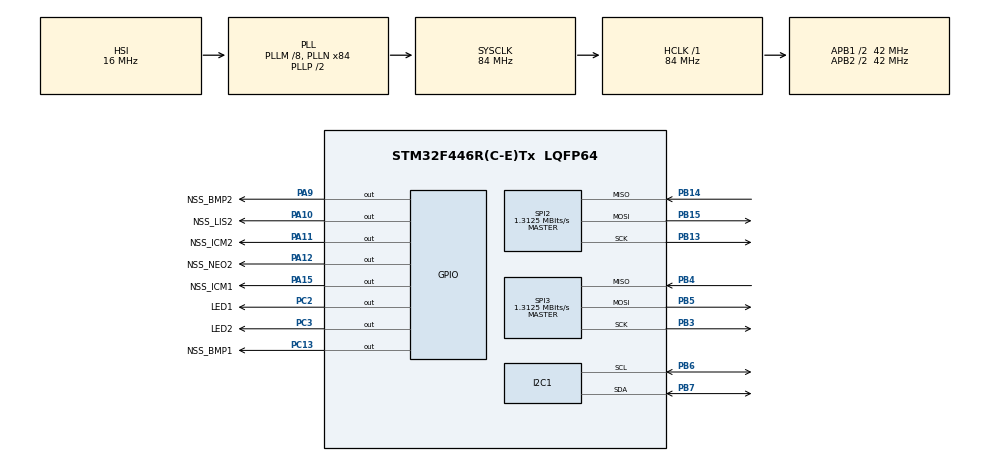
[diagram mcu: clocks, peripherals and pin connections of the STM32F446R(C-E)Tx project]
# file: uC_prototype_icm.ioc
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I2C1.I2C_Mode=I2C_Fast
Mcu.Family=STM32F4
Mcu.Name=STM32F446R(C-E)Tx
Mcu.Package=LQFP64
NVIC.PriorityGroup=NVIC_PRIORITYGROUP_4
PA10.GPIO_Label=NSS_LIS2
PA10.Signal=GPIO_Output
PA11.GPIO_Label=NSS_ICM2
PA11.Signal=GPIO_Output
PA12.GPIO_Label=NSS_NEO2
PA12.Signal=GPIO_Output
PA13.Mode=Serial_Wire
PA13.Signal=SYS_JTMS-SWDIO
PA14.Mode=Serial_Wire
PA14.Signal=SYS_JTCK-SWCLK
PA15.GPIO_Label=NSS_ICM1
PA15.Signal=GPIO_Output
PA9.GPIO_Label=NSS_BMP2
PA9.Signal=GPIO_Output
PB13.Mode=Full_Duplex_Master
PB13.Signal=SPI2_SCK
PB14.Mode=Full_Duplex_Master
PB14.Signal=SPI2_MISO
PB15.Mode=Full_Duplex_Master
PB15.Signal=SPI2_MOSI
PB3.Mode=Full_Duplex_Master
PB3.Signal=SPI3_SCK
PB4.Mode=Full_Duplex_Master
PB4.Signal=SPI3_MISO
PB5.Mode=Full_Duplex_Master
PB5.Signal=SPI3_MOSI
PB6.Mode=I2C
PB6.Signal=I2C1_SCL
PB7.Mode=I2C
PB7.Signal=I2C1_SDA
PC13.GPIO_Label=NSS_BMP1
PC13.Signal=GPIO_Output
PC14-OSC32_IN.Mode=LSE-External-Clock-Source
PC14-OSC32_IN.Signal=RCC_OSC32_IN
PC15-OSC32_OUT.Mode=LSE-External-Clock-Source
PC15-OSC32_OUT.Signal=RCC_OSC32_OUT
PC2.GPIO_Label=LED1
PC2.Signal=GPIO_Output
PC3.GPIO_Label=LED2
PC3.Signal=GPIO_Output
PH0-OSC_IN.Mode=HSE-External-Clock-Source
PH0-OSC_IN.Signal=RCC_OSC_IN
PH1-OSC_OUT.Mode=HSE-External-Clock-Source
PH1-OSC_OUT.Signal=RCC_OSC_OUT
ProjectManager.HeapSize=0x200
ProjectManager.StackSize=0x400
ProjectManager.TargetToolchain=TrueSTUDIO
RCC.AHBFreq_Value=84000000
RCC.APB1CLKDivider=RCC_HCLK_DIV2
RCC.APB1Freq_Value=42000000
RCC.APB1TimFreq_Value=84000000
RCC.APB2CLKDivider=RCC_HCLK_DIV2
RCC.APB2Freq_Value=42000000
RCC.APB2TimFreq_Value=84000000
RCC.CortexFreq_Value=84000000
RCC.HCLKFreq_Value=84000000
RCC.PLLM=8
RCC.PLLN=84
RCC.SYSCLKFreq_VALUE=84000000
RCC.SYSCLKSource=RCC_SYSCLKSOURCE_PLLCLK
RCC.USBFreq_Value=84000000
RCC.VCOOutputFreq_Value=168000000
SPI2.BaudRatePrescaler=SPI_BAUDRATEPRESCALER_32
SPI2.CalculateBaudRate=1.3125 MBits/s
SPI2.Direction=SPI_DIRECTION_2LINES
SPI2.Mode=SPI_MODE_MASTER
SPI2.VirtualType=VM_MASTER
SPI3.BaudRatePrescaler=SPI_BAUDRATEPRESCALER_32
SPI3.CalculateBaudRate=1.3125 MBits/s
SPI3.Direction=SPI_DIRECTION_2LINES
SPI3.Mode=SPI_MODE_MASTER
SPI3.VirtualType=VM_MASTER
board=custom

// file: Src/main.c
/* USER CODE BEGIN Header */
/**
  ******************************************************************************
  * @file           : main.c
  * @brief          : Main program body
  ******************************************************************************
  ** This notice applies to any and all portions of this file
  * that are not between comment pairs USER CODE BEGIN and
  * USER CODE END. Other portions of this file, whether
  * inserted by the user or by software development tools
  * are owned by their respective copyright owners.
  *
  * COPYRIGHT(c) 2019 STMicroelectronics
  *
  * Redistribution and use in source and binary forms, with or without modification,
  * are permitted provided that the following conditions are met:
  *   1. Redistributions of source code must retain the above copyright notice,
  *      this list of conditions and the following disclaimer.
  *   2. Redistributions in binary form must reproduce the above copyright notice,
  *      this list of conditions and the following disclaimer in the documentation
  *      and/or other materials provided with the distribution.
  *   3. Neither the name of STMicroelectronics nor the names of its contributors
  *      may be used to endorse or promote products derived from this software
  *      without specific prior written permission.
  *
  * THIS SOFTWARE IS PROVIDED BY THE COPYRIGHT HOLDERS AND CONTRIBUTORS "AS IS"
  * AND ANY EXPRESS OR IMPLIED WARRANTIES, INCLUDING, BUT NOT LIMITED TO, THE
  * IMPLIED WARRANTIES OF MERCHANTABILITY AND FITNESS FOR A PARTICULAR PURPOSE ARE
  * DISCLAIMED. IN NO EVENT SHALL THE COPYRIGHT HOLDER OR CONTRIBUTORS BE LIABLE
  * FOR ANY DIRECT, INDIRECT, INCIDENTAL, SPECIAL, EXEMPLARY, OR CONSEQUENTIAL
  * DAMAGES (INCLUDING, BUT NOT LIMITED TO, PROCUREMENT OF SUBSTITUTE GOODS OR
  * SERVICES; LOSS OF USE, DATA, OR PROFITS; OR BUSINESS INTERRUPTION) HOWEVER
  * CAUSED AND ON ANY THEORY OF LIABILITY, WHETHER IN CONTRACT, STRICT LIABILITY,
  * OR TORT (INCLUDING NEGLIGENCE OR OTHERWISE) ARISING IN ANY WAY OUT OF THE USE
  * OF THIS SOFTWARE, EVEN IF ADVISED OF THE POSSIBILITY OF SUCH DAMAGE.
  *
  ******************************************************************************
  */
/* USER CODE END Header */

#include "main.h"

I2C_HandleTypeDef hi2c1;

SPI_HandleTypeDef hspi2;
SPI_HandleTypeDef hspi3;

void SystemClock_Config(void);
static void MX_GPIO_Init(void);
static void MX_I2C1_Init(void);
static void MX_SPI3_Init(void);
static void MX_SPI2_Init(void);

/* USER CODE BEGIN 0 */

//Fct to write a byte and test if the writing has been successful
uint32_t write8(uint8_t registerAdress, uint8_t command, GPIO_TypeDef *GPIO_Port, uint16_t Pin, SPI_HandleTypeDef *hspiN)
{
	uint16_t Size = 2;
	uint8_t dataWrite[2] = {0,0};
	dataWrite[0] = registerAdress;
	dataWrite[1] = command;
	HAL_GPIO_WritePin(GPIO_Port, Pin, GPIO_PIN_RESET);
	HAL_SPI_Transmit(hspiN, &dataWrite, Size, 10);
	HAL_GPIO_WritePin(GPIO_Port, Pin, GPIO_PIN_SET);

//	TESTING IF WRITING WAS SUCCESSFUL
	uint32_t test = 0;
	uint8_t dataRead = 0;
	read8(registerAdress, &dataRead, GPIO_Port, Pin, hspiN);
	if(dataRead == command){test=1;}
	return test;
}

//Fct to read a byte at the corresponding register adress
void read8(uint8_t registerAdress, uint8_t *data, GPIO_TypeDef *GPIO_Port, uint16_t Pin, SPI_HandleTypeDef *hspiN)
{
	uint16_t Size = 2;
	uint8_t dataRead[2] = {0,0};
	dataRead[0] = registerAdress | 0x80; //for a read command MSB should be 1
	HAL_GPIO_WritePin(GPIO_Port, Pin, GPIO_PIN_RESET); //HAL_GPIO_WritePin(GPIO_Port, Pin, GPIO_PIN_RESET);NSS_ICM_GPIO_Port, NSS_ICM_Pin, GPIO_PIN_RESET
	HAL_SPI_Receive(hspiN, &dataRead, Size, 10);
	HAL_GPIO_WritePin(GPIO_Port, Pin, GPIO_PIN_SET); //HAL_GPIO_WritePin(GPIO_Port, Pin, GPIO_PIN_SET);NSS_ICM_GPIO_Port, NSS_ICM_Pin, GPIO_PIN_SET
	*data = dataRead[1];
}

//Fct to read short uint16_t with LSB in the first position
uint16_t read16(uint8_t registerAdress, GPIO_TypeDef *GPIO_Port, uint16_t Pin, SPI_HandleTypeDef *hspiN)
{
	uint16_t data = 0;
	uint16_t Size = 3;
	uint8_t dataRead[3] = {0,0,0};
	dataRead[0] = registerAdress | 0x80; //for a read command MSB should be 1
	HAL_GPIO_WritePin(GPIO_Port, Pin, GPIO_PIN_RESET);
	HAL_SPI_Receive(hspiN, &dataRead, Size, 10);
	HAL_GPIO_WritePin(GPIO_Port, Pin, GPIO_PIN_SET);

	data = dataRead[2]<<8 | dataRead[1]; //WARNING, unusual : MSB in the second position
	return data;
}

//Fct to read 2*Number bytes and put them in N uint16_t form
void read16N(uint8_t registerAdress, uint16_t *data, uint8_t Number, GPIO_TypeDef *GPIO_Port, uint16_t Pin, SPI_HandleTypeDef *hspiN)
{
	uint16_t Size = 1 + 2*Number;
	uint8_t dataRead[Size];
	dataRead[0] = registerAdress | 0x80; //for a read command MSB should be 1
	HAL_GPIO_WritePin(GPIO_Port, Pin, GPIO_PIN_RESET);
	HAL_SPI_Receive(hspiN, &dataRead, Size, 10);
	HAL_GPIO_WritePin(GPIO_Port, Pin, GPIO_PIN_SET);

	uint32_t i = 0;
	for(i=0;i<Number;i++){
		*data++ = dataRead[1+2*i]<<8 | dataRead[2+2*i];
	}
}

void readBMP(uint8_t registerAdress, int32_t *data, uint8_t Number, GPIO_TypeDef *GPIO_Port, uint16_t Pin, SPI_HandleTypeDef *hspiN)
{
	uint16_t Size = 1 + 3*Number;
	uint8_t dataRead[Size];
	dataRead[0] = registerAdress | 0x80; //for a read command MSB should be 1
	HAL_GPIO_WritePin(GPIO_Port, Pin, GPIO_PIN_RESET);
	HAL_SPI_Receive(hspiN, &dataRead, Size, 10);
	HAL_GPIO_WritePin(GPIO_Port, Pin, GPIO_PIN_SET);

	unsigned int i = 0;
	for(i=0;i<Number;i++){
		*data++ = dataRead[1+3*i]<<12 | dataRead[2+3*i]<<4 | dataRead[3+3*i]; //signed int, 20 bit format !
	}
}

int16_t readPitot()
{
	uint8_t receive_buffer[2];
	uint16_t output, output_min = 1638, output_max = 14745; //10% to 90% calibration with 2^14 counts
	int16_t pressure, pressure_min = -5, pressure_max = 5; //in PSI
	HAL_I2C_Master_Receive(&hi2c1, I2C_PITOT_ADDRESS, &receive_buffer, 2, 100); //maybe do need a write fct before
	output = receive_buffer[0]<<8 | receive_buffer[1];
	pressure = ((output - output_min)*(pressure_max - pressure_min) / (output_max - output_min)) + pressure_min;
	return pressure;
}

//Fct to initialize the ICM20602 register, report errors in err variable
unsigned int init_icm20602(GPIO_TypeDef *NSS_ICM_GPIO_Port, uint16_t NSS_ICM_Pin, SPI_HandleTypeDef *hspiN)
{
	unsigned int test = 0x00000011;
	uint8_t dataRead = 0;

	read8(ICM20602_WHO_AM_I, &dataRead, NSS_ICM_GPIO_Port, NSS_ICM_Pin, hspiN);	//Read who I am register, and check if communication is working
	if(dataRead != ICM20602_ID){test &= 0x11111101;}

	write8(ICM20602_PWR_MGMT_1, ICM20602_RESET, NSS_ICM_GPIO_Port, NSS_ICM_Pin, hspiN);
	HAL_Delay(100);
	if(write8(ICM20602_I2C_INTERFACE, ICM20602_DISABLE_I2C, NSS_ICM_GPIO_Port, NSS_ICM_Pin, hspiN) != 1){test &= 0x11111110;}
	if(write8(ICM20602_PWR_MGMT_1, ICM20602_ENABLE_TEMP, NSS_ICM_GPIO_Port, NSS_ICM_Pin, hspiN) != 1){test &= 0x11111110;}
	if(write8(ICM20602_PWR_MGMT_2, ICM20602_ENABLE_ACC_GYRO, NSS_ICM_GPIO_Port, NSS_ICM_Pin, hspiN) != 1){test &= 0x11111110;}
	if(write8(ICM20602_SMPLRT_DIV, ICM20602_SAMPLE_RATE, NSS_ICM_GPIO_Port, NSS_ICM_Pin, hspiN) != 1){test &= 0x11111110;}
	if(write8(ICM20602_CONFIG, ICM20602_LPFGYRO_176, NSS_ICM_GPIO_Port, NSS_ICM_Pin, hspiN) != 1){test &= 0x11111110;}
	if(write8(ICM20602_ACCEL_CONFIG, ICM20602_SCALE16G_ACC, NSS_ICM_GPIO_Port, NSS_ICM_Pin, hspiN) != 1){test &= 0x11111110;}
	if(write8(ICM20602_ACCEL_CONFIG2, ICM20602_LPFACC_99, NSS_ICM_GPIO_Port, NSS_ICM_Pin, hspiN) != 1){test &= 0x11111110;}
	if(write8(ICM20602_GYRO_CONFIG, ICM20602_SCALE500DPS_GYRO, NSS_ICM_GPIO_Port, NSS_ICM_Pin, hspiN) != 1){test &= 0x11111110;}

	return test;
}

unsigned int init_bmp280(GPIO_TypeDef *NSS_BMP_GPIO_Port, uint16_t NSS_BMP_Pin, SPI_HandleTypeDef *hspiN)
{
	unsigned int test = 0x00000011;
	uint8_t dataRead = 0;

	read8(BMP280_WHO_AM_I, &dataRead, NSS_BMP_GPIO_Port, NSS_BMP_Pin, hspiN);	//Read who I am register, and check if communication is working
	if(dataRead != BMP280_ID){test &= 0x11111101;}

	write8(BMP280_RESET_REG, BMP280_RESET_CMD, NSS_BMP_GPIO_Port, NSS_BMP_Pin, hspiN);
	HAL_Delay(100);
	if(write8(BMP280_CTRL_MEAS, BMP280_OVERSAMPL_TEMP | BMP280_OVERSAMPL_PRESS | BMP280_MODE_NORMAL, NSS_BMP_GPIO_Port, NSS_BMP_Pin, hspiN) != 1){test &= 0x11111110;}
	if(write8(BMP280_CONFIG, BMP280_TSB_05 | BMP280_IRR_16 | BMP280_EN_SPI3, NSS_BMP_GPIO_Port, NSS_BMP_Pin, hspiN) != 1){test &= 0x11111110;}

	return test;
}

unsigned int init_lis(GPIO_TypeDef *GPIO_Port, uint16_t Pin)
{
	unsigned int test = 0x00000011;
	uint8_t dataRead = 0;

	read8(LIS_WHO_AM_I, &dataRead, NSS_LIS2_GPIO_Port, NSS_LIS2_Pin, &hspi2);	//Read who I am register, and check if communication is working
	if(dataRead != LIS_ID){test &= 0x11111101;}

	write8(LIS_CTRL_REG2, LIS_RESET, NSS_LIS2_GPIO_Port, NSS_LIS2_Pin, &hspi2);
	HAL_Delay(100);
	if(write8(LIS_CTRL_REG1, LIS_UHP, NSS_LIS2_GPIO_Port, NSS_LIS2_Pin, &hspi2) != 1){test &= 0x11111110;}
	if(write8(LIS_CTRL_REG4, LIS_ZUHP, NSS_LIS2_GPIO_Port, NSS_LIS2_Pin, &hspi2) != 1){test &= 0x11111110;}
	if(write8(LIS_CTRL_REG3, LIS_ACTIVATE, NSS_LIS2_GPIO_Port, NSS_LIS2_Pin, &hspi2) != 1){test &= 0x11111110;}

	return test;
}

void readParamBmp(param *bmp, GPIO_TypeDef *NSS_BMP_GPIO_Port, uint16_t NSS_BMP_Pin, SPI_HandleTypeDef *hspiN)
{
	bmp->T1 = (uint16_t) read16(0x08, NSS_BMP_GPIO_Port, NSS_BMP_Pin, hspiN); 	//0x88, 0x80 will be added from the reading instruction
	bmp->T2 = (int16_t) read16(0x0A, NSS_BMP_GPIO_Port, NSS_BMP_Pin, hspiN);	//0x8A
	bmp->T3 = (int16_t) read16(0x0C, NSS_BMP_GPIO_Port, NSS_BMP_Pin, hspiN);	//0x8C
	bmp->P1 = (uint16_t) read16(0x0E, NSS_BMP_GPIO_Port, NSS_BMP_Pin, hspiN);	//0x8E
	bmp->P2 = (int16_t) read16(0x10, NSS_BMP_GPIO_Port, NSS_BMP_Pin, hspiN);	//0x90
	bmp->P3 = (int16_t) read16(0x12, NSS_BMP_GPIO_Port, NSS_BMP_Pin, hspiN);	//0x92
	bmp->P4 = (int16_t) read16(0x14, NSS_BMP_GPIO_Port, NSS_BMP_Pin, hspiN);	//0x94
	bmp->P5 = (int16_t) read16(0x16, NSS_BMP_GPIO_Port, NSS_BMP_Pin, hspiN);	//0x96
	bmp->P6 = (int16_t) read16(0x18, NSS_BMP_GPIO_Port, NSS_BMP_Pin, hspiN);	//0x98
	bmp->P7 = (int16_t) read16(0x1A, NSS_BMP_GPIO_Port, NSS_BMP_Pin, hspiN);	//0x9A
	bmp->P8 = (int16_t) read16(0x1C, NSS_BMP_GPIO_Port, NSS_BMP_Pin, hspiN);	//0x9C
	bmp->P9 = (int16_t) read16(0x1E, NSS_BMP_GPIO_Port, NSS_BMP_Pin, hspiN);	//0x9E
}

// Compensate the raw reading adc_T and adc_P from the baro
// T is given with a resolution of 0.01DegC, ie "5123" = 51.23°C
// divide p value to get the pressure in Pa. "24674867" = 24674867/256 = 96386.2 Pa
void bmpCompensate(param Bmp, int32_t bmpRaw[2], int32_t *bmpCompensated)
{
	int32_t t_fine;
	int32_t var1, var2, T;
	var1 = ((((bmpRaw[1]>>3) - ((int32_t)Bmp.T1<<1))) * ((int32_t)Bmp.T2)) >> 11;
	var2 = (((((bmpRaw[1]>>4) - ((int32_t)Bmp.T1)) * ((bmpRaw[1]>>4) - ((int32_t)Bmp.T1))) >> 12) * ((int32_t)Bmp.T3)) >> 14;
	t_fine = var1 + var2;
	T = (t_fine * 5 +128) >> 8;
	*bmpCompensated++ = T;

	int64_t var11, var22, p;
	var11 = ((int64_t)t_fine) - 128000;
	var22 = var11 * var11 * (int64_t)Bmp.P6;
	var22 = var22 + ((var11*(int64_t)Bmp.P5)<<17);
	var22 = var22 + (((int64_t)Bmp.P4)<<35);
	var11 = ((var11 * var11 * (int64_t)Bmp.P3)>>8) + ((var11 * (int64_t)Bmp.P2)<<12);
	var11 = (((((int64_t)1)<<47)+var11))*((int64_t)Bmp.P1)>>33;
	if(var1==0){
		*bmpCompensated = (uint32_t) 0;
	}
	else{
		p = 1048576-bmpRaw[0];
		p = (((p<<31)-var22)*3125)/var11;
		var11 = (((int64_t)Bmp.P9) * (p>>13) * (p>>13)) >> 25;
		var22 = (((int64_t)Bmp.P8) * p) >> 19;
		p = ((p + var11 + var22) >> 8) + (((int64_t)Bmp.P7)<<4);
		*bmpCompensated = (uint32_t) p;
	}
}

//Main initialization function. Sensors denoted 1 are on the OBC board and use the SPI3 bus, Sensors denoted 2 are on the SB and use SPI2 bus.
unsigned int mainInitialization(param *Bmp1, param *Bmp2)
{
	unsigned int err=0;
	if(init_icm20602(NSS_ICM1_GPIO_Port, NSS_ICM1_Pin, &hspi3) != 0x00000011){//do the init and if failure report it to the error variable + put on led off
		err |= 0x00000001;
	}
	if(init_icm20602(NSS_ICM2_GPIO_Port, NSS_ICM2_Pin, &hspi2) != 0x00000011){//do the init and if failure report it to the error variable + put on led off
		err |= 0x00000010;
	}
	if(init_bmp280(NSS_BMP1_GPIO_Port, NSS_BMP1_Pin, &hspi3) != 0x00000011){//do the init and if failure report it to the error variable + put on led off
		err |= 0x00000100;
	}
	if(init_bmp280(NSS_BMP2_GPIO_Port, NSS_BMP2_Pin, &hspi2) != 0x00000011){//do the init and if failure report it to the error variable + put on led off
		err |= 0x00001000;
	}
	if(init_lis(NSS_LIS2_GPIO_Port, NSS_LIS2_Pin) != 0x00000011){//do the init and if failure report it to the error variable + put on led off
		err |= 0x00010000;
	}
	readParamBmp(Bmp1, NSS_BMP1_GPIO_Port, NSS_BMP1_Pin, &hspi3);
	readParamBmp(Bmp2, NSS_BMP2_GPIO_Port, NSS_BMP2_Pin, &hspi2);
	if(err != 0){HAL_GPIO_WritePin(LED2_GPIO_Port,LED2_Pin,GPIO_PIN_RESET);}
	return err;
}
/* USER CODE END 0 */

int main(void)
{
  /* USER CODE BEGIN 1 */
  uint16_t IMU1_data_raw[7] = {0}; 		//acc_temp_gyro
  float IMU1_data_converted[7] = {0}; 	//acc_temp_gyro
  uint16_t IMU2_data_raw[7] = {0}; 		//acc_temp_gyro
  float IMU2_data_converted[7] = {0}; 	//acc_temp_gyro
  int16_t pressure_pitot = 0;
  int32_t bmp1Raw[2] = {0}; 			//pressure-temp
  int32_t bmp1Comp[2] = {0}; 			//pressure-temp
  int32_t bmp2Raw[2] = {0}; 			//pressure-temp
  int32_t bmp2Comp[2] = {0}; 			//pressure-temp
  uint16_t LIS_data_raw[3] = {0};		//X-Y-Z
  float LIS_data_converted[3] = {0};	//X-Y-Z
  unsigned int err = 0;
  param Bmp1, Bmp2;						//compensation parameters
  /* USER CODE END 1 */

  /* MCU Configuration--------------------------------------------------------*/

  /* Reset of all peripherals, Initializes the Flash interface and the Systick. */
  HAL_Init();

  /* Configure the system clock */
  SystemClock_Config();

  /* Initialize all configured peripherals */
  MX_GPIO_Init();
  MX_I2C1_Init();
  MX_SPI3_Init();
  MX_SPI2_Init();
  /* USER CODE BEGIN 2 */
  //initialize NSS pin high for SPI communication
  HAL_GPIO_WritePin(NSS_ICM1_GPIO_Port, NSS_ICM1_Pin, GPIO_PIN_SET);
  HAL_GPIO_WritePin(NSS_ICM2_GPIO_Port, NSS_ICM2_Pin, GPIO_PIN_SET);
  HAL_GPIO_WritePin(NSS_BMP1_GPIO_Port, NSS_BMP1_Pin, GPIO_PIN_SET);
  HAL_GPIO_WritePin(NSS_BMP2_GPIO_Port, NSS_BMP2_Pin, GPIO_PIN_SET);
  HAL_GPIO_WritePin(NSS_LIS2_GPIO_Port, NSS_LIS2_Pin, GPIO_PIN_SET);
  HAL_GPIO_WritePin(NSS_NEO2_GPIO_Port, NSS_NEO2_Pin, GPIO_PIN_SET);
  HAL_GPIO_WritePin(LED1_GPIO_Port,LED1_Pin,GPIO_PIN_SET);				//Put the LED on
  HAL_GPIO_WritePin(LED2_GPIO_Port,LED2_Pin,GPIO_PIN_SET);
  HAL_Delay(1000);
  err = mainInitialization(&Bmp1, &Bmp2);								//Configure the sensors
  /* USER CODE END 2 */

  /* Infinite loop */
  while (1)
  {

    /* USER CODE BEGIN 3 */
	read16N(ICM20602_DATA_REG, &IMU1_data_raw, 7, NSS_ICM1_GPIO_Port, NSS_ICM1_Pin, &hspi3); //Read ICM data registers
	read16N(ICM20602_DATA_REG, &IMU2_data_raw, 7, NSS_ICM2_GPIO_Port, NSS_ICM2_Pin, &hspi2); //Read ICM data registers

	//Convert data in usual units (but float instead of unint16_t
	IMU1_data_converted[0] = (int16_t)IMU1_data_raw[0] / 2048.0; 			//in g
	IMU1_data_converted[1] = (int16_t)IMU1_data_raw[1] / 2048.0;
	IMU1_data_converted[2] = (int16_t)IMU1_data_raw[2] / 2048.0;
	IMU1_data_converted[3] = ((int16_t)IMU1_data_raw[3] / 326.8) + 25.0;	//in °C
	IMU1_data_converted[4] = (int16_t)IMU1_data_raw[4] / 65.5;				//in dps
	IMU1_data_converted[5] = (int16_t)IMU1_data_raw[5] / 65.5;
	IMU1_data_converted[6] = (int16_t)IMU1_data_raw[6] / 65.5;

	IMU2_data_converted[0] = (int16_t)IMU2_data_raw[0] / 2048.0; 			//in g
	IMU2_data_converted[1] = (int16_t)IMU2_data_raw[1] / 2048.0;
	IMU2_data_converted[2] = (int16_t)IMU2_data_raw[2] / 2048.0;
	IMU2_data_converted[3] = ((int16_t)IMU2_data_raw[3] / 326.8) + 25.0;	//in °C
	IMU2_data_converted[4] = (int16_t)IMU2_data_raw[4] / 65.5;				//in dps
	IMU2_data_converted[5] = (int16_t)IMU2_data_raw[5] / 65.5;
	IMU2_data_converted[6] = (int16_t)IMU2_data_raw[6] / 65.5;

	readBMP(BMP280_DATA_REG, &bmp1Raw, 2, NSS_BMP1_GPIO_Port, NSS_BMP1_Pin, &hspi3); //Read BMP data registers
	readBMP(BMP280_DATA_REG, &bmp2Raw, 2, NSS_BMP2_GPIO_Port, NSS_BMP2_Pin, &hspi2); //Read BMP data registers
	bmpCompensate(Bmp1, bmp1Raw, &bmp1Comp); //Compensate value of pressure and temperature with the compensation parameters
	bmpCompensate(Bmp2, bmp2Raw, &bmp2Comp); //Compensate value of pressure and temperature with the compensation parameters

	read16N(LIS_DATA_REG, &LIS_data_raw, 3, NSS_LIS2_GPIO_Port, NSS_LIS2_Pin, &hspi2); //Read LIS data registers
	//Convert data in usual units
	LIS_data_converted[0] = (int16_t)LIS_data_raw[0] / 6842.0; 			//in Gauss
	LIS_data_converted[1] = (int16_t)LIS_data_raw[1] / 6842.0;
	LIS_data_converted[2] = (int16_t)LIS_data_raw[2] / 6842.0;

	//pressure_pitot = readPitot();
	//HAL_Delay(1000);
	HAL_Delay(100);
  }
  /* USER CODE END 3 */
}

void SystemClock_Config(void)
{
  RCC_OscInitTypeDef RCC_OscInitStruct = {0};
  RCC_ClkInitTypeDef RCC_ClkInitStruct = {0};

  /**Configure the main internal regulator output voltage
  */
  __HAL_RCC_PWR_CLK_ENABLE();
  __HAL_PWR_VOLTAGESCALING_CONFIG(PWR_REGULATOR_VOLTAGE_SCALE3);
  /**Initializes the CPU, AHB and APB busses clocks
  */
  RCC_OscInitStruct.OscillatorType = RCC_OSCILLATORTYPE_HSI;
  RCC_OscInitStruct.HSIState = RCC_HSI_ON;
  RCC_OscInitStruct.HSICalibrationValue = RCC_HSICALIBRATION_DEFAULT;
  RCC_OscInitStruct.PLL.PLLState = RCC_PLL_ON;
  RCC_OscInitStruct.PLL.PLLSource = RCC_PLLSOURCE_HSI;
  RCC_OscInitStruct.PLL.PLLM = 8;
  RCC_OscInitStruct.PLL.PLLN = 84;
  RCC_OscInitStruct.PLL.PLLP = RCC_PLLP_DIV2;
  RCC_OscInitStruct.PLL.PLLQ = 2;
  RCC_OscInitStruct.PLL.PLLR = 2;
  if (HAL_RCC_OscConfig(&RCC_OscInitStruct) != HAL_OK)
  {
    Error_Handler();
  }
  /**Initializes the CPU, AHB and APB busses clocks
  */
  RCC_ClkInitStruct.ClockType = RCC_CLOCKTYPE_HCLK|RCC_CLOCKTYPE_SYSCLK
                              |RCC_CLOCKTYPE_PCLK1|RCC_CLOCKTYPE_PCLK2;
  RCC_ClkInitStruct.SYSCLKSource = RCC_SYSCLKSOURCE_PLLCLK;
  RCC_ClkInitStruct.AHBCLKDivider = RCC_SYSCLK_DIV1;
  RCC_ClkInitStruct.APB1CLKDivider = RCC_HCLK_DIV2;
  RCC_ClkInitStruct.APB2CLKDivider = RCC_HCLK_DIV2;

  if (HAL_RCC_ClockConfig(&RCC_ClkInitStruct, FLASH_LATENCY_2) != HAL_OK)
  {
    Error_Handler();
  }
}

static void MX_I2C1_Init(void)
{

  hi2c1.Instance = I2C1;
  hi2c1.Init.ClockSpeed = 400000;
  hi2c1.Init.DutyCycle = I2C_DUTYCYCLE_2;
  hi2c1.Init.OwnAddress1 = 0;
  hi2c1.Init.AddressingMode = I2C_ADDRESSINGMODE_7BIT;
  hi2c1.Init.DualAddressMode = I2C_DUALADDRESS_DISABLE;
  hi2c1.Init.OwnAddress2 = 0;
  hi2c1.Init.GeneralCallMode = I2C_GENERALCALL_DISABLE;
  hi2c1.Init.NoStretchMode = I2C_NOSTRETCH_DISABLE;
  if (HAL_I2C_Init(&hi2c1) != HAL_OK)
  {
    Error_Handler();
  }

}

static void MX_SPI2_Init(void)
{

  /* SPI2 parameter configuration*/
  hspi2.Instance = SPI2;
  hspi2.Init.Mode = SPI_MODE_MASTER;
  hspi2.Init.Direction = SPI_DIRECTION_2LINES;
  hspi2.Init.DataSize = SPI_DATASIZE_8BIT;
  hspi2.Init.CLKPolarity = SPI_POLARITY_LOW;
  hspi2.Init.CLKPhase = SPI_PHASE_1EDGE;
  hspi2.Init.NSS = SPI_NSS_SOFT;
  hspi2.Init.BaudRatePrescaler = SPI_BAUDRATEPRESCALER_32;
  hspi2.Init.FirstBit = SPI_FIRSTBIT_MSB;
  hspi2.Init.TIMode = SPI_TIMODE_DISABLE;
  hspi2.Init.CRCCalculation = SPI_CRCCALCULATION_DISABLE;
  hspi2.Init.CRCPolynomial = 10;
  if (HAL_SPI_Init(&hspi2) != HAL_OK)
  {
    Error_Handler();
  }

}

static void MX_SPI3_Init(void)
{

  /* SPI3 parameter configuration*/
  hspi3.Instance = SPI3;
  hspi3.Init.Mode = SPI_MODE_MASTER;
  hspi3.Init.Direction = SPI_DIRECTION_2LINES;
  hspi3.Init.DataSize = SPI_DATASIZE_8BIT;
  hspi3.Init.CLKPolarity = SPI_POLARITY_LOW;
  hspi3.Init.CLKPhase = SPI_PHASE_1EDGE;
  hspi3.Init.NSS = SPI_NSS_SOFT;
  hspi3.Init.BaudRatePrescaler = SPI_BAUDRATEPRESCALER_32;
  hspi3.Init.FirstBit = SPI_FIRSTBIT_MSB;
  hspi3.Init.TIMode = SPI_TIMODE_DISABLE;
  hspi3.Init.CRCCalculation = SPI_CRCCALCULATION_DISABLE;
  hspi3.Init.CRCPolynomial = 10;
  if (HAL_SPI_Init(&hspi3) != HAL_OK)
  {
    Error_Handler();
  }

}

static void MX_GPIO_Init(void)
{
  GPIO_InitTypeDef GPIO_InitStruct = {0};

  /* GPIO Ports Clock Enable */
  __HAL_RCC_GPIOC_CLK_ENABLE();
  __HAL_RCC_GPIOH_CLK_ENABLE();
  __HAL_RCC_GPIOA_CLK_ENABLE();
  __HAL_RCC_GPIOB_CLK_ENABLE();
  __HAL_RCC_GPIOD_CLK_ENABLE();

  /*Configure GPIO pin Output Level */
  HAL_GPIO_WritePin(GPIOC, NSS_BMP1_Pin|LED1_Pin|LED2_Pin, GPIO_PIN_RESET);

  /*Configure GPIO pin Output Level */
  HAL_GPIO_WritePin(GPIOA, NSS_BMP2_Pin|NSS_LIS2_Pin|NSS_ICM2_Pin|NSS_NEO2_Pin
                          |NSS_ICM1_Pin, GPIO_PIN_RESET);

  /*Configure GPIO pins : NSS_BMP1_Pin LED1_Pin LED2_Pin */
  GPIO_InitStruct.Pin = NSS_BMP1_Pin|LED1_Pin|LED2_Pin;
  GPIO_InitStruct.Mode = GPIO_MODE_OUTPUT_PP;
  GPIO_InitStruct.Pull = GPIO_NOPULL;
  GPIO_InitStruct.Speed = GPIO_SPEED_FREQ_LOW;
  HAL_GPIO_Init(GPIOC, &GPIO_InitStruct);

  /*Configure GPIO pins : PC0 PC1 PC4 PC5
                           PC6 PC7 PC8 PC9
                           PC10 PC11 PC12 */
  GPIO_InitStruct.Pin = GPIO_PIN_0|GPIO_PIN_1|GPIO_PIN_4|GPIO_PIN_5
                          |GPIO_PIN_6|GPIO_PIN_7|GPIO_PIN_8|GPIO_PIN_9
                          |GPIO_PIN_10|GPIO_PIN_11|GPIO_PIN_12;
  GPIO_InitStruct.Mode = GPIO_MODE_ANALOG;
  GPIO_InitStruct.Pull = GPIO_NOPULL;
  HAL_GPIO_Init(GPIOC, &GPIO_InitStruct);

  /*Configure GPIO pins : PA0 PA1 PA2 PA3
                           PA4 PA5 PA6 PA7
                           PA8 */
  GPIO_InitStruct.Pin = GPIO_PIN_0|GPIO_PIN_1|GPIO_PIN_2|GPIO_PIN_3
                          |GPIO_PIN_4|GPIO_PIN_5|GPIO_PIN_6|GPIO_PIN_7
                          |GPIO_PIN_8;
  GPIO_InitStruct.Mode = GPIO_MODE_ANALOG;
  GPIO_InitStruct.Pull = GPIO_NOPULL;
  HAL_GPIO_Init(GPIOA, &GPIO_InitStruct);

  /*Configure GPIO pins : PB0 PB1 PB2 PB10
                           PB12 PB8 PB9 */
  GPIO_InitStruct.Pin = GPIO_PIN_0|GPIO_PIN_1|GPIO_PIN_2|GPIO_PIN_10
                          |GPIO_PIN_12|GPIO_PIN_8|GPIO_PIN_9;
  GPIO_InitStruct.Mode = GPIO_MODE_ANALOG;
  GPIO_InitStruct.Pull = GPIO_NOPULL;
  HAL_GPIO_Init(GPIOB, &GPIO_InitStruct);

  /*Configure GPIO pins : NSS_BMP2_Pin NSS_LIS2_Pin NSS_ICM2_Pin NSS_NEO2_Pin
                           NSS_ICM1_Pin */
  GPIO_InitStruct.Pin = NSS_BMP2_Pin|NSS_LIS2_Pin|NSS_ICM2_Pin|NSS_NEO2_Pin
                          |NSS_ICM1_Pin;
  GPIO_InitStruct.Mode = GPIO_MODE_OUTPUT_PP;
  GPIO_InitStruct.Pull = GPIO_NOPULL;
  GPIO_InitStruct.Speed = GPIO_SPEED_FREQ_LOW;
  HAL_GPIO_Init(GPIOA, &GPIO_InitStruct);

  /*Configure GPIO pin : PD2 */
  GPIO_InitStruct.Pin = GPIO_PIN_2;
  GPIO_InitStruct.Mode = GPIO_MODE_ANALOG;
  GPIO_InitStruct.Pull = GPIO_NOPULL;
  HAL_GPIO_Init(GPIOD, &GPIO_InitStruct);

}

void Error_Handler(void)
{
}

/************************ (C) COPYRIGHT STMicroelectronics *****END OF FILE****/
